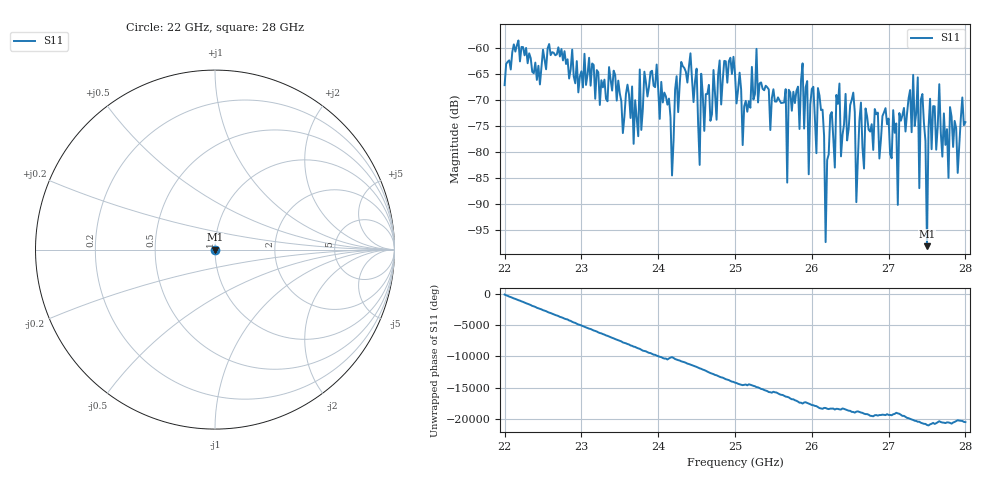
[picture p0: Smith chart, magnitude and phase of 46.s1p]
#  HZ  S  RI  R  50.00
! Rohde & Schwarz ZVA40 4Ports - Version 3.90 - 1145.1110k42 SN: 100403
! Date: 2023-10-04 09:21:40
! Measurement: S12
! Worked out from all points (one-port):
!   301 points, 22 GHz to 28 GHz, reference 50 ohm
!   lowest |S11| = -98.0 dB at 27.5 GHz (marker M1), VSWR 1.00, Z = 50 - j0.00125 ohm
!   |S11| at or under -10 dB: start of sweep to end of sweep
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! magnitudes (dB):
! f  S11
! 22 GHz  -67.1
! 22.76 GHz  -62.3
! 23.5 GHz  -68.6
! 24.26 GHz  -72.3
! 24.42 GHz  -60.9
! 24.54 GHz  -82.4
! 24.56 GHz  -64.9
! 24.6 GHz  -75.9
! 25 GHz  -64.9
! 25.1 GHz  -78.6
! 25.28 GHz  -60.1
! 25.46 GHz  -75.7
! 25.66 GHz  -67.8
! 25.68 GHz  -85.8
! 25.76 GHz  -68.3
! 25.94 GHz  -66.3
! 25.96 GHz  -84.2
! 26.02 GHz  -67.4
! 26.06 GHz  -80.1
! 26.08 GHz  -67.6
! 26.18 GHz  -97.2
! 26.5 GHz  -70.9
! 27.12 GHz  -90.1
! 27.26 GHz  -69.6
! 27.5 GHz  -98.0
! 27.66 GHz  -66.9
! 27.7 GHz  -80.8
! 28 GHz  -74.2
